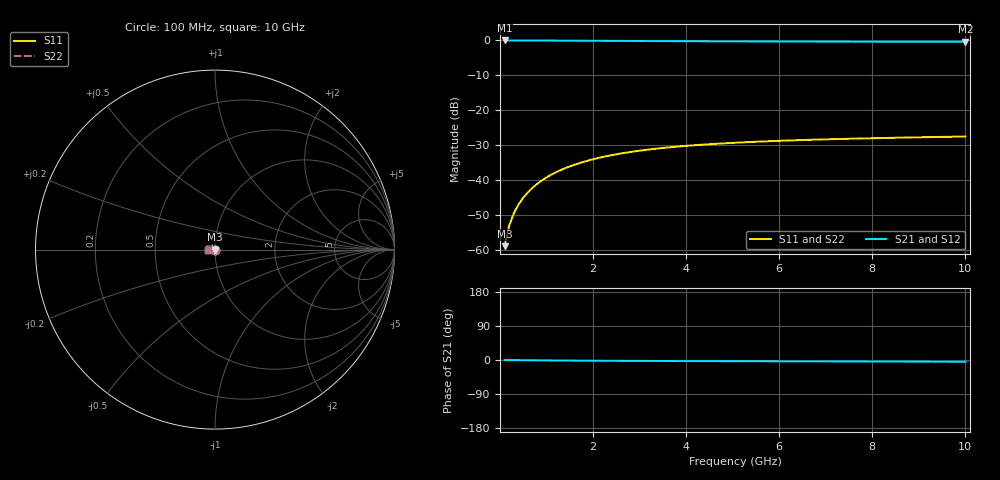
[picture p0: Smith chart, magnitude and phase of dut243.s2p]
! Touchstone file exported from HFSS 2024.1.0
!  File:  C:/UserFiles/LocalFiles/RDL_TSV_Batchsim/temp_TSV1_243_1779389748.aedt
!  Generated:  03:01:02 AM May 22, 2026
!  Design:  TSV1
!  Project:  temp_TSV1_243_1779389748
!  Setup:  Setup1
!  Solution:  Sweep
! Variables:
!  dtsv = 10.27um
!  hbump = 3um
!  htsv = 69.95um
!  lrdl = 252.1521522um
!  p = 40
!  p1 = 47.1um
!  t = 500um
!  trdl = 3um
!  wrdl = 24.89489489um
# GHz S MA R 50.000000
! Terminal data exported
! Port[1] = TSV22_T1
! Port[2] = TSV22_T2
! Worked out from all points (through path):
!   100 points, 100 MHz to 10 GHz, reference 50 ohm
!   highest |S21| = 0.00 dB at 100 MHz (marker M1); lowest = -0.4 dB at 10 GHz (marker M2)
!   lowest |S11| = -59.0 dB at 100 MHz (marker M3), VSWR 1.00, Z = 50 - j0.111 ohm
!   |S11| at or under -10 dB: start of sweep to end of sweep
!   |S22| runs from -59.0 to -27.6 dB; largest |S21 - S12| = 5.9e-15
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0.1  0.001118 -85.1  0.9998 -0.1  0.9998 -0.1  0.001118 -85.1
! Gamma 0 0 0 0
! Port Impedance 50 0 50 0
0.2  0.002226 -90.0  0.9997 -0.2  0.9997 -0.2  0.002226 -90.0
0.3  0.003337 -92.7  0.9995 -0.3  0.9995 -0.3  0.003337 -92.7
0.4  0.004444 -94.9  0.9993 -0.4  0.9993 -0.4  0.004444 -94.9
0.5  0.005544 -97.0  0.999 -0.5  0.999 -0.5  0.005544 -97.0
0.6  0.006632 -98.9  0.9986 -0.6  0.9986 -0.6  0.006632 -98.9
0.7  0.007707 -100.7  0.9982 -0.7  0.9982 -0.7  0.007707 -100.7
0.8  0.008765 -102.5  0.9977 -0.8  0.9977 -0.8  0.008765 -102.5
0.9  0.009806 -104.3  0.9972 -0.9  0.9972 -0.9  0.009806 -104.3
1.1  0.01183 -107.7  0.996 -1.1  0.996 -1.1  0.01183 -107.7
1.4  0.01469 -112.5  0.994 -1.4  0.994 -1.4  0.01469 -112.5
1.6  0.01647 -115.6  0.9925 -1.6  0.9925 -1.6  0.01647 -115.6
1.8  0.01816 -118.5  0.991 -1.7  0.991 -1.7  0.01816 -118.5
2.1  0.02049 -122.7  0.9886 -1.9  0.9886 -1.9  0.02049 -122.7
2.5  0.02326 -127.8  0.9854 -2.2  0.9854 -2.2  0.02326 -127.8
2.9  0.02566 -132.5  0.9823 -2.4  0.9823 -2.4  0.02566 -132.5
3.4  0.02821 -137.7  0.9788 -2.6  0.9788 -2.6  0.02821 -137.7
4.2  0.03145 -145.0  0.9738 -2.9  0.9738 -2.9  0.03145 -145.0
5.1  0.03419 -151.9  0.9694 -3.2  0.9694 -3.2  0.03419 -151.9
6.7  0.0376 -161.7  0.9636 -3.6  0.9636 -3.6  0.0376 -161.7
8.4  0.04006 -169.9  0.9595 -4.1  0.9595 -4.1  0.04006 -169.9
10  0.04181 -176.3  0.9568 -4.5  0.9568 -4.5  0.04181 -176.3
